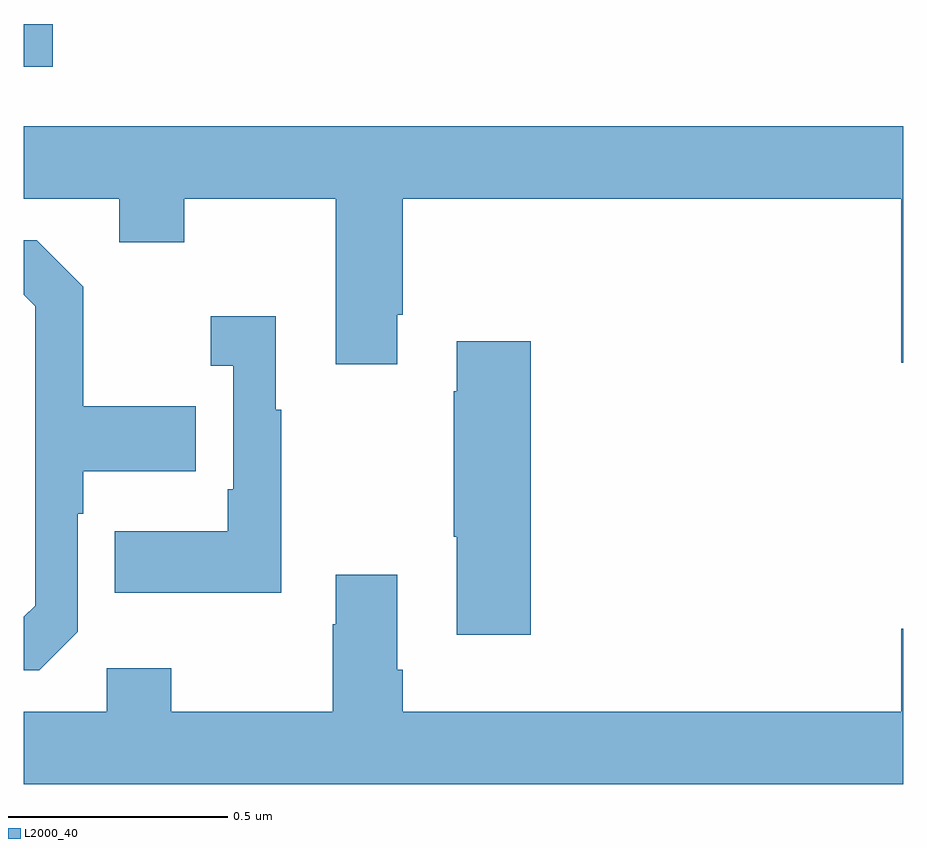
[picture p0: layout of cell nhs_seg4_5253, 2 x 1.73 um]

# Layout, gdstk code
import gdstk
lib = gdstk.Library(unit=1e-6, precision=1e-09)
def R(c, l, rs):  # rectangles x0, y0, x1, y1
    for r in rs: c.add(gdstk.rectangle(r[:2], r[2:], *l))
def P(c, l, *ps):  # polygons
    for p in ps: c.add(gdstk.Polygon(p, *l))
L2000_40 = (2000, 40)

nhs_seg4_5253 = lib.new_cell('nhs_seg4_5253')
R(nhs_seg4_5253, L2000_40, [(175,823.76,175.066,823.857)])
P(nhs_seg4_5253, L2000_40, [(175.849,823.195),(175.862,823.195),(175.862,823.46),(176.996,823.46),(176.996,823.086),(177,823.086),(177,823.624),(175,823.624),(175,823.46),(175.217,823.46),(175.217,823.361),(175.365,823.361),(175.365,823.46),(175.709,823.46),(175.709,823.083),(175.849,823.083)],
  [(175.122,822.474),(175.122,822.743),(175.135,822.743),(175.135,822.839),(175.391,822.839),(175.391,822.987),(175.135,822.987),(175.135,823.259),(175.029,823.365),(175,823.365),(175,823.241),(175.026,823.215),(175.026,822.534),(175,822.508),(175,822.387),(175.035,822.387)],
  [(175.585,822.979),(175.573,822.979),(175.573,823.192),(175.425,823.192),(175.425,823.079),(175.476,823.079),(175.476,822.799),(175.464,822.799),(175.464,822.703),(175.207,822.703),(175.207,822.563),(175.585,822.563)],
  [(176.153,823.135),(175.985,823.135),(175.985,823.022),(175.978,823.022),(175.978,822.691),(175.985,822.691),(175.985,822.468),(176.153,822.468)],
  [(177,822.481),(176.996,822.481),(176.996,822.292),(175.862,822.292),(175.862,822.388),(175.849,822.388),(175.849,822.604),(175.709,822.604),(175.709,822.491),(175.702,822.491),(175.702,822.292),(175.335,822.292),(175.335,822.391),(175.188,822.391),(175.188,822.292),(175,822.292),(175,822.128),(177,822.128)])

lib.write_gds('nhs_seg4_5253.gds')
